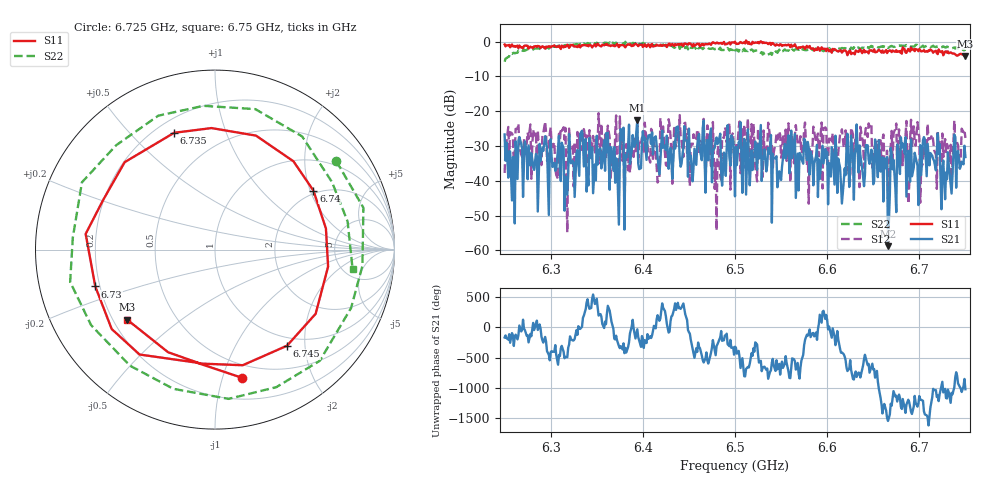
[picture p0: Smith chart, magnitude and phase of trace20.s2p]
# Hz S RI R 50
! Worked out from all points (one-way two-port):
!   401 points, 6.25 GHz to 6.75 GHz, reference 50 ohm
!   highest |S21| = -22.59 dB at 6.394 GHz (marker M1); lowest = -58.8 dB at 6.666 GHz (marker M2)
!   lowest |S11| = -4.1 dB at 6.75 GHz (marker M3), VSWR 4.35, Z = 12.8 - j16.5 ohm
!   |S11| at or under -10 dB: nowhere
!   |S22| runs from -5.8 to 0.0 dB; largest |S21 - S12| = 0.14
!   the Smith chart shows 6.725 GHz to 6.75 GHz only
!   S11 on the Smith chart (normalised r, x): 6.725 GHz: 0.38, -1.16; 6.73 GHz: 0.18, -0.15; 6.735 GHz: 0.27, +0.67; 6.74 GHz: 1.89, +2.11; 6.745 GHz: 0.85, -1.66; 6.75 GHz: 0.26, -0.33
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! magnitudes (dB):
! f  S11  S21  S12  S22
! 6.25 GHz  -0.8  -26.6  -37.7  -5.8
! 6.259 GHz  -1.3  -33.2  -27.1  -3.3
! 6.265 GHz  -1.8  -28.5  -23.5  -2.5
! 6.316 GHz  -1.5  -38.8  -24.8  -1.0
! 6.334 GHz  -1.0  -25.6  -31.1  -0.7
! 6.372 GHz  -0.6  -33.9  -35.9  -0.6
! 6.394 GHz  -1.0  -22.6  -24.1  -0.9
! 6.418 GHz  -1.2  -38.2  -39.0  -0.7
! 6.5 GHz  0.0  -44.4  -34.9  -2.5
! 6.584 GHz  -1.9  -33.6  -30.8  -2.3
! 6.618 GHz  -2.5  -40.3  -30.4  -1.9
! 6.624 GHz  -2.7  -41.8  -40.7  -1.8
! 6.645 GHz  -3.4  -33.9  -23.5  -1.8
! 6.666 GHz  -2.8  -58.8  -45.2  -1.8
! 6.668 GHz  -2.5  -44.2  -32.5  -1.5
! 6.682 GHz  -1.7  -29.3  -35.5  -1.2
! 6.725 GHz  -2.7  -36.9  -26.4  -1.6
! 6.73 GHz  -3.1  -39.6  -29.4  -1.4
! 6.735 GHz  -3.2  -43.6  -41.5  -1.9
! 6.74 GHz  -3.9  -42.0  -28.4  -1.6
! 6.745 GHz  -3.5  -35.7  -33.4  -1.8
! 6.75 GHz  -4.1  -33.1  -27.7  -2.2
